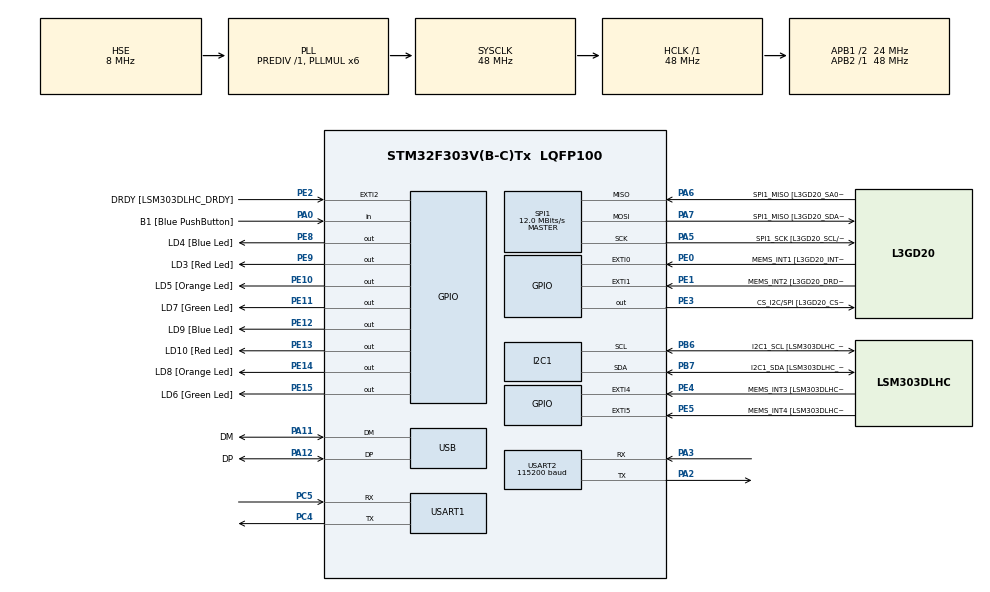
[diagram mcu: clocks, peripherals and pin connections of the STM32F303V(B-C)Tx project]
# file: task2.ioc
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I2C1.Timing=0x2000090E
I2C1.Timing-I2C=0x2000090E
Mcu.Family=STM32F3
Mcu.Name=STM32F303V(B-C)Tx
Mcu.Package=LQFP100
NVIC.PriorityGroup=NVIC_PRIORITYGROUP_0
NVIC.USB_LP_CAN_RX0_IRQn=true\:0\:0\:false\:false\:true\:false\:true\:true
PA0.GPIO_Label=B1 [Blue PushButton]
PA0.Signal=GPIO_Input
PA11.GPIO_Label=DM
PA11.Mode=Device
PA11.Signal=USB_DM
PA12.GPIO_Label=DP
PA12.Mode=Device
PA12.Signal=USB_DP
PA13.GPIO_Label=SWDIO
PA13.Mode=Serial_Wire
PA13.Signal=SYS_JTMS-SWDIO
PA14.GPIO_Label=SWCLK
PA14.Mode=Serial_Wire
PA14.Signal=SYS_JTCK-SWCLK
PA2.Mode=Asynchronous
PA2.Signal=USART2_TX
PA3.Mode=Asynchronous
PA3.Signal=USART2_RX
PA5.GPIO_Label=SPI1_SCK [L3GD20_SCL/SPC]
PA5.Mode=Full_Duplex_Master
PA5.Signal=SPI1_SCK
PA6.GPIO_Label=SPI1_MISO [L3GD20_SA0/SDO]
PA6.Mode=Full_Duplex_Master
PA6.Signal=SPI1_MISO
PA7.GPIO_Label=SPI1_MISO [L3GD20_SDA/SDI/SDO]
PA7.Mode=Full_Duplex_Master
PA7.Signal=SPI1_MOSI
PB3.GPIO_Label=SWO
PB3.Signal=SYS_JTDO-TRACESWO
PB6.GPIO_Label=I2C1_SCL [LSM303DLHC_SCL]
PB6.GPIO_Pu=GPIO_PULLUP
PB6.Mode=I2C
PB6.Signal=I2C1_SCL
PB7.GPIO_Label=I2C1_SDA [LSM303DLHC_SDA]
PB7.GPIO_Pu=GPIO_PULLUP
PB7.Mode=I2C
PB7.Signal=I2C1_SDA
PC14-OSC32_IN.GPIO_Label=OSC32_IN
PC14-OSC32_IN.Signal=RCC_OSC32_IN
PC15-OSC32_OUT.GPIO_Label=OSC32_OUT
PC15-OSC32_OUT.Signal=RCC_OSC32_OUT
PC4.Mode=Asynchronous
PC4.Signal=USART1_TX
PC5.Mode=Asynchronous
PC5.Signal=USART1_RX
PE0.GPIO_Label=MEMS_INT1 [L3GD20_INT1]
PE0.GPIO_ModeDefaultEXTI=GPIO_MODE_EVT_RISING
PE0.Signal=GPXTI0
PE1.GPIO_Label=MEMS_INT2 [L3GD20_DRDY/INT2]
PE1.GPIO_ModeDefaultEXTI=GPIO_MODE_EVT_RISING
PE1.Signal=GPXTI1
PE10.GPIO_Label=LD5 [Orange Led]
PE10.Signal=GPIO_Output
PE11.GPIO_Label=LD7 [Green Led]
PE11.Signal=GPIO_Output
PE12.GPIO_Label=LD9 [Blue Led]
PE12.Signal=GPIO_Output
PE13.GPIO_Label=LD10 [Red Led]
PE13.Signal=GPIO_Output
PE14.GPIO_Label=LD8 [Orange Led]
PE14.Signal=GPIO_Output
PE15.GPIO_Label=LD6 [Green Led]
PE15.Signal=GPIO_Output
PE2.GPIO_Label=DRDY [LSM303DLHC_DRDY]
PE2.GPIO_ModeDefaultEXTI=GPIO_MODE_EVT_RISING
PE2.Signal=GPXTI2
PE3.GPIO_Label=CS_I2C/SPI [L3GD20_CS_I2C/SPI]
PE3.Signal=GPIO_Output
PE4.GPIO_Label=MEMS_INT3 [LSM303DLHC_INT1]
PE4.GPIO_ModeDefaultEXTI=GPIO_MODE_EVT_RISING
PE4.Signal=GPXTI4
PE5.GPIO_Label=MEMS_INT4 [LSM303DLHC_INT2]
PE5.GPIO_ModeDefaultEXTI=GPIO_MODE_EVT_RISING
PE5.Signal=GPXTI5
PE8.GPIO_Label=LD4 [Blue Led]
PE8.Signal=GPIO_Output
PE9.GPIO_Label=LD3 [Red Led]
PE9.Signal=GPIO_Output
PF0-OSC_IN.GPIO_Label=OSC_IN
PF0-OSC_IN.Mode=HSE-External-Clock-Source
PF0-OSC_IN.Signal=RCC_OSC_IN
PF1-OSC_OUT.GPIO_Label=OSC_OUT
PF1-OSC_OUT.Signal=RCC_OSC_OUT
ProjectManager.HeapSize=0x200
ProjectManager.StackSize=0x400
ProjectManager.TargetToolchain=CMake
RCC.AHBFreq_Value=48000000
RCC.APB1CLKDivider=RCC_HCLK_DIV2
RCC.APB1Freq_Value=24000000
RCC.APB1TimFreq_Value=48000000
RCC.APB2Freq_Value=48000000
RCC.APB2TimFreq_Value=48000000
RCC.CortexFreq_Value=48000000
RCC.HCLKFreq_Value=48000000
RCC.HSE_VALUE=8000000
RCC.HSI_VALUE=8000000
RCC.LSE_VALUE=32768
RCC.PLLMUL=RCC_PLL_MUL6
RCC.SYSCLKFreq_VALUE=48000000
RCC.SYSCLKSourceVirtual=RCC_SYSCLKSOURCE_PLLCLK
RCC.USBFreq_Value=48000000
SPI1.BaudRatePrescaler=SPI_BAUDRATEPRESCALER_4
SPI1.BaudRatePrescaler-Full_Duplex_Master=SPI_BAUDRATEPRESCALER_2
SPI1.CalculateBaudRate=12.0 MBits/s
SPI1.CalculateBaudRate-Full_Duplex_Master=24.0 MBits/s
SPI1.Direction=SPI_DIRECTION_2LINES
SPI1.Mode=SPI_MODE_MASTER
SPI1.Mode-Full_Duplex_Master=SPI_MODE_MASTER
SPI1.VirtualType=VM_MASTER
USART1.VirtualMode-Asynchronous=VM_ASYNC
USART2.BaudRate=115200
USART2.VirtualMode-Asynchronous=VM_ASYNC
USB_DEVICE.CLASS_NAME_FS=CDC
USB_DEVICE.VirtualMode=Cdc
USB_DEVICE.VirtualModeFS=Cdc_FS
VP_USB_DEVICE_VS_USB_DEVICE_CDC_FS.Mode=CDC_FS
board=STM32F3DISCOVERY

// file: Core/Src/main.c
/* USER CODE BEGIN Header */
/**
******************************************************************************
* @file : main.c
* @brief : Main program body
******************************************************************************
* @attention
*
* Copyright (c) 2025 STMicroelectronics.
* All rights reserved.
*
* This software is licensed under terms that can be found in the LICENSE file
* in the root directory of this software component.
* If no LICENSE file comes with this software, it is provided AS-IS.
*
******************************************************************************
*/
/* USER CODE END Header */
#include "main.h"
#include "usb_device.h"
#include "heap_driver.c"

/* USER CODE BEGIN Includes */
#include <string.h>
#include <stdio.h>
/* USER CODE END Includes */

I2C_HandleTypeDef hi2c1;

SPI_HandleTypeDef hspi1;

UART_HandleTypeDef huart1;
UART_HandleTypeDef huart2;

void SystemClock_Config(void);
static void MX_GPIO_Init(void);
static void MX_I2C1_Init(void);
static void MX_SPI1_Init(void);
static void MX_USART2_UART_Init(void);
static void MX_USART1_UART_Init(void);

/* USER CODE BEGIN 0 */
void print_uart(const char* msg) {
HAL_UART_Transmit(&huart1, (uint8_t*)msg, strlen(msg), HAL_MAX_DELAY);
}
/* USER CODE END 0 */

int main(void)
{

  /* MCU Configuration--------------------------------------------------------*/

  /* Reset of all peripherals, Initializes the Flash interface and the Systick. */
  HAL_Init();

  /* Configure the system clock */
  SystemClock_Config();

  /* Initialize all configured peripherals */
  MX_GPIO_Init();
  MX_I2C1_Init();
  MX_SPI1_Init();
  MX_USART2_UART_Init();
  MX_USART1_UART_Init();
  MX_USB_DEVICE_Init();
  /* USER CODE BEGIN 2 */
// Print a message over UART to indicate the start of the test.

print_uart("=== Custom Heap Driver (Direct SRAM) ===\r\n");
// Initialize the custom heap allocator.
// This function sets up internal memory structures (e.g., the block_map array)
// so that all heap memory is marked as free.
// It MUST be called before using heap_alloc or heap_free.
heap_init();
// Allocate 32 bytes from the heap.
// heap_alloc returns a pointer to a memory region in SRAM that is at least 32 bytes long.
// We cast the void* return type to char* so we can use string functions likestrcpy.
char* block1 = (char*)heap_alloc(32);
// Allocate 48 bytes from the heap.
char* block2 = (char*)heap_alloc(48);
// Check if both allocations were successful (i.e., the returned pointers are not NULL
if (block1 && block2) {
// If successful, store strings into the allocated memory regions.
// Since the memory comes from our own heap allocator, we assume it behaveslike malloc.
strcpy(block1, "Data in Block 1"); // Copy string into the memory allocated in block1
strcpy(block2, "Text from Block 2"); // Copy string into the memory allocated in block2
// Print the contents of both blocks over UART.
// This confirms that memory was correctly allocated and can be accessed.
print_uart(block1);
print_uart("\r\n");
print_uart(block2);
print_uart("\r\n");
} else {
// If either allocation failed (due to insufficient memory or a bug), printan error message.
print_uart("Allocation failed.\r\n");
}
// Free the memory blocks that were previously allocated.
// This makes them available again for future calls to heap_alloc.
// It's important to always free memory when you're done using it to avoid memory leaks.
heap_free(block1);
heap_free(block2);
// Print a confirmation that memory has been freed.
print_uart("Blocks freed.\r\n");
  /* USER CODE END 2 */

  /* Infinite loop */
while (1)
{

}
}

void SystemClock_Config(void)
{
  RCC_OscInitTypeDef RCC_OscInitStruct = {0};
  RCC_ClkInitTypeDef RCC_ClkInitStruct = {0};
  RCC_PeriphCLKInitTypeDef PeriphClkInit = {0};

  /** Initializes the RCC Oscillators according to the specified parameters
  * in the RCC_OscInitTypeDef structure.
  */
  RCC_OscInitStruct.OscillatorType = RCC_OSCILLATORTYPE_HSI|RCC_OSCILLATORTYPE_HSE;
  RCC_OscInitStruct.HSEState = RCC_HSE_BYPASS;
  RCC_OscInitStruct.HSEPredivValue = RCC_HSE_PREDIV_DIV1;
  RCC_OscInitStruct.HSIState = RCC_HSI_ON;
  RCC_OscInitStruct.HSICalibrationValue = RCC_HSICALIBRATION_DEFAULT;
  RCC_OscInitStruct.PLL.PLLState = RCC_PLL_ON;
  RCC_OscInitStruct.PLL.PLLSource = RCC_PLLSOURCE_HSE;
  RCC_OscInitStruct.PLL.PLLMUL = RCC_PLL_MUL6;
  if (HAL_RCC_OscConfig(&RCC_OscInitStruct) != HAL_OK)
  {
    Error_Handler();
  }

  /** Initializes the CPU, AHB and APB buses clocks
  */
  RCC_ClkInitStruct.ClockType = RCC_CLOCKTYPE_HCLK|RCC_CLOCKTYPE_SYSCLK
                              |RCC_CLOCKTYPE_PCLK1|RCC_CLOCKTYPE_PCLK2;
  RCC_ClkInitStruct.SYSCLKSource = RCC_SYSCLKSOURCE_PLLCLK;
  RCC_ClkInitStruct.AHBCLKDivider = RCC_SYSCLK_DIV1;
  RCC_ClkInitStruct.APB1CLKDivider = RCC_HCLK_DIV2;
  RCC_ClkInitStruct.APB2CLKDivider = RCC_HCLK_DIV1;

  if (HAL_RCC_ClockConfig(&RCC_ClkInitStruct, FLASH_LATENCY_1) != HAL_OK)
  {
    Error_Handler();
  }
  PeriphClkInit.PeriphClockSelection = RCC_PERIPHCLK_USB|RCC_PERIPHCLK_USART1
                              |RCC_PERIPHCLK_USART2|RCC_PERIPHCLK_I2C1;
  PeriphClkInit.Usart1ClockSelection = RCC_USART1CLKSOURCE_PCLK2;
  PeriphClkInit.Usart2ClockSelection = RCC_USART2CLKSOURCE_PCLK1;
  PeriphClkInit.I2c1ClockSelection = RCC_I2C1CLKSOURCE_HSI;
  PeriphClkInit.USBClockSelection = RCC_USBCLKSOURCE_PLL;
  if (HAL_RCCEx_PeriphCLKConfig(&PeriphClkInit) != HAL_OK)
  {
    Error_Handler();
  }
}

static void MX_I2C1_Init(void)
{

  hi2c1.Instance = I2C1;
  hi2c1.Init.Timing = 0x2000090E;
  hi2c1.Init.OwnAddress1 = 0;
  hi2c1.Init.AddressingMode = I2C_ADDRESSINGMODE_7BIT;
  hi2c1.Init.DualAddressMode = I2C_DUALADDRESS_DISABLE;
  hi2c1.Init.OwnAddress2 = 0;
  hi2c1.Init.OwnAddress2Masks = I2C_OA2_NOMASK;
  hi2c1.Init.GeneralCallMode = I2C_GENERALCALL_DISABLE;
  hi2c1.Init.NoStretchMode = I2C_NOSTRETCH_DISABLE;
  if (HAL_I2C_Init(&hi2c1) != HAL_OK)
  {
    Error_Handler();
  }

  /** Configure Analogue filter
  */
  if (HAL_I2CEx_ConfigAnalogFilter(&hi2c1, I2C_ANALOGFILTER_ENABLE) != HAL_OK)
  {
    Error_Handler();
  }

  /** Configure Digital filter
  */
  if (HAL_I2CEx_ConfigDigitalFilter(&hi2c1, 0) != HAL_OK)
  {
    Error_Handler();
  }

}

static void MX_SPI1_Init(void)
{

  /* SPI1 parameter configuration*/
  hspi1.Instance = SPI1;
  hspi1.Init.Mode = SPI_MODE_MASTER;
  hspi1.Init.Direction = SPI_DIRECTION_2LINES;
  hspi1.Init.DataSize = SPI_DATASIZE_4BIT;
  hspi1.Init.CLKPolarity = SPI_POLARITY_LOW;
  hspi1.Init.CLKPhase = SPI_PHASE_1EDGE;
  hspi1.Init.NSS = SPI_NSS_SOFT;
  hspi1.Init.BaudRatePrescaler = SPI_BAUDRATEPRESCALER_4;
  hspi1.Init.FirstBit = SPI_FIRSTBIT_MSB;
  hspi1.Init.TIMode = SPI_TIMODE_DISABLE;
  hspi1.Init.CRCCalculation = SPI_CRCCALCULATION_DISABLE;
  hspi1.Init.CRCPolynomial = 7;
  hspi1.Init.CRCLength = SPI_CRC_LENGTH_DATASIZE;
  hspi1.Init.NSSPMode = SPI_NSS_PULSE_ENABLE;
  if (HAL_SPI_Init(&hspi1) != HAL_OK)
  {
    Error_Handler();
  }

}

static void MX_USART1_UART_Init(void)
{

  huart1.Instance = USART1;
  huart1.Init.BaudRate = 115200;
  huart1.Init.WordLength = UART_WORDLENGTH_8B;
  huart1.Init.StopBits = UART_STOPBITS_1;
  huart1.Init.Parity = UART_PARITY_NONE;
  huart1.Init.Mode = UART_MODE_TX_RX;
  huart1.Init.HwFlowCtl = UART_HWCONTROL_NONE;
  huart1.Init.OverSampling = UART_OVERSAMPLING_16;
  huart1.Init.OneBitSampling = UART_ONE_BIT_SAMPLE_DISABLE;
  huart1.AdvancedInit.AdvFeatureInit = UART_ADVFEATURE_NO_INIT;
  if (HAL_UART_Init(&huart1) != HAL_OK)
  {
    Error_Handler();
  }

}

static void MX_USART2_UART_Init(void)
{

  huart2.Instance = USART2;
  huart2.Init.BaudRate = 115200;
  huart2.Init.WordLength = UART_WORDLENGTH_8B;
  huart2.Init.StopBits = UART_STOPBITS_1;
  huart2.Init.Parity = UART_PARITY_NONE;
  huart2.Init.Mode = UART_MODE_TX_RX;
  huart2.Init.HwFlowCtl = UART_HWCONTROL_NONE;
  huart2.Init.OverSampling = UART_OVERSAMPLING_16;
  huart2.Init.OneBitSampling = UART_ONE_BIT_SAMPLE_DISABLE;
  huart2.AdvancedInit.AdvFeatureInit = UART_ADVFEATURE_NO_INIT;
  if (HAL_UART_Init(&huart2) != HAL_OK)
  {
    Error_Handler();
  }

}

static void MX_GPIO_Init(void)
{
  GPIO_InitTypeDef GPIO_InitStruct = {0};

  /* GPIO Ports Clock Enable */
  __HAL_RCC_GPIOE_CLK_ENABLE();
  __HAL_RCC_GPIOC_CLK_ENABLE();
  __HAL_RCC_GPIOF_CLK_ENABLE();
  __HAL_RCC_GPIOA_CLK_ENABLE();
  __HAL_RCC_GPIOB_CLK_ENABLE();

  /*Configure GPIO pin Output Level */
  HAL_GPIO_WritePin(GPIOE, CS_I2C_SPI_Pin|LD4_Pin|LD3_Pin|LD5_Pin
                          |LD7_Pin|LD9_Pin|LD10_Pin|LD8_Pin
                          |LD6_Pin, GPIO_PIN_RESET);

  /*Configure GPIO pins : DRDY_Pin MEMS_INT3_Pin MEMS_INT4_Pin MEMS_INT1_Pin
                           MEMS_INT2_Pin */
  GPIO_InitStruct.Pin = DRDY_Pin|MEMS_INT3_Pin|MEMS_INT4_Pin|MEMS_INT1_Pin
                          |MEMS_INT2_Pin;
  GPIO_InitStruct.Mode = GPIO_MODE_EVT_RISING;
  GPIO_InitStruct.Pull = GPIO_NOPULL;
  HAL_GPIO_Init(GPIOE, &GPIO_InitStruct);

  /*Configure GPIO pins : CS_I2C_SPI_Pin LD4_Pin LD3_Pin LD5_Pin
                           LD7_Pin LD9_Pin LD10_Pin LD8_Pin
                           LD6_Pin */
  GPIO_InitStruct.Pin = CS_I2C_SPI_Pin|LD4_Pin|LD3_Pin|LD5_Pin
                          |LD7_Pin|LD9_Pin|LD10_Pin|LD8_Pin
                          |LD6_Pin;
  GPIO_InitStruct.Mode = GPIO_MODE_OUTPUT_PP;
  GPIO_InitStruct.Pull = GPIO_NOPULL;
  GPIO_InitStruct.Speed = GPIO_SPEED_FREQ_LOW;
  HAL_GPIO_Init(GPIOE, &GPIO_InitStruct);

  /*Configure GPIO pin : B1_Pin */
  GPIO_InitStruct.Pin = B1_Pin;
  GPIO_InitStruct.Mode = GPIO_MODE_INPUT;
  GPIO_InitStruct.Pull = GPIO_NOPULL;
  HAL_GPIO_Init(B1_GPIO_Port, &GPIO_InitStruct);

}

void Error_Handler(void)
{
__disable_irq();
while (1)
{
}
}
